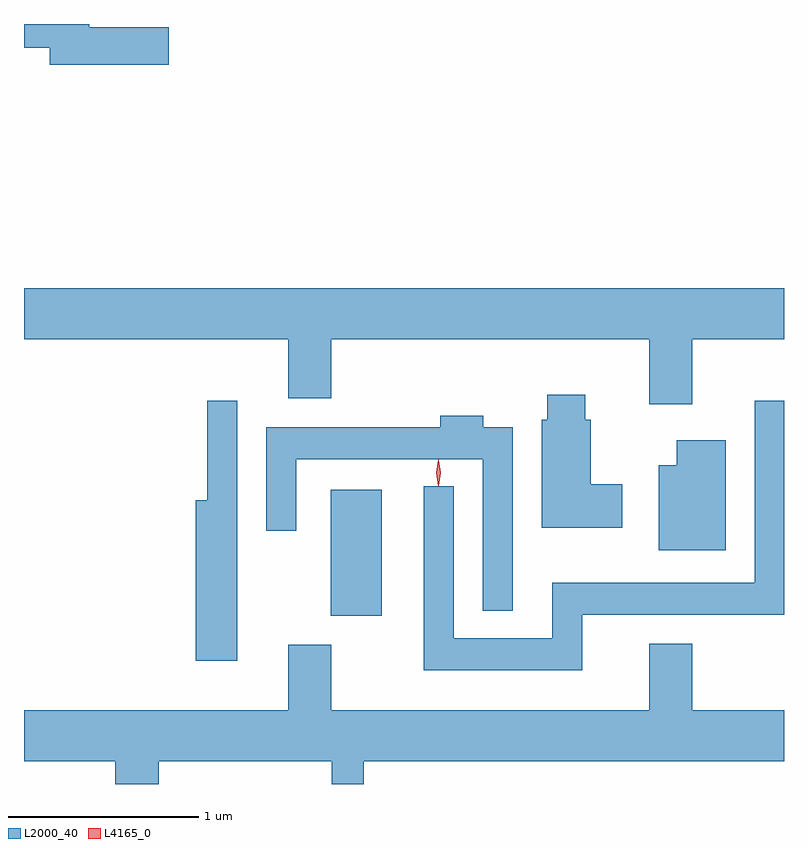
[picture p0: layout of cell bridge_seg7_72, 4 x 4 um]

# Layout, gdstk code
import gdstk
lib = gdstk.Library(unit=1e-6, precision=1e-09)
def R(c, l, rs):  # rectangles x0, y0, x1, y1
    for r in rs: c.add(gdstk.rectangle(r[:2], r[2:], *l))
def P(c, l, *ps):  # polygons
    for p in ps: c.add(gdstk.Polygon(p, *l))
L2000_40 = (2000, 40)
L4165_0 = (4165, 0)

bridge_seg7_72 = lib.new_cell('bridge_seg7_72')
R(bridge_seg7_72, L2000_40, [(1483.256,1746.161,1483.524,1746.824)])
P(bridge_seg7_72, L2000_40, [(1482.404,1749.259),(1481.984,1749.259),(1481.984,1749.276),(1481.641,1749.276),(1481.641,1749.151),(1481.776,1749.151),(1481.776,1749.061),(1482.404,1749.061)],
  [(1485.159,1747.616),(1485.641,1747.616),(1485.641,1747.884),(1481.641,1747.884),(1481.641,1747.616),(1483.031,1747.616),(1483.031,1747.306),(1483.259,1747.306),(1483.259,1747.616),(1484.931,1747.616),(1484.931,1747.276),(1485.159,1747.276)],
  [(1484.789,1746.854),(1484.624,1746.854),(1484.624,1747.194),(1484.594,1747.194),(1484.594,1747.324),(1484.396,1747.324),(1484.396,1747.194),(1484.366,1747.194),(1484.366,1746.626),(1484.789,1746.626)],
  [(1482.764,1747.293),(1482.606,1747.293),(1482.606,1746.769),(1482.546,1746.769),(1482.546,1745.926),(1482.764,1745.926)],
  [(1484.579,1746.166),(1485.641,1746.166),(1485.641,1747.293),(1485.486,1747.293),(1485.486,1746.334),(1484.421,1746.334),(1484.421,1746.044),(1483.904,1746.044),(1483.904,1746.843),(1483.746,1746.843),(1483.746,1745.876),(1484.579,1745.876)],
  [(1484.214,1747.154),(1484.059,1747.154),(1484.059,1747.214),(1483.831,1747.214),(1483.831,1747.154),(1482.916,1747.154),(1482.916,1746.608),(1483.074,1746.608),(1483.074,1746.986),(1484.056,1746.986),(1484.056,1746.188),(1484.214,1746.188)],
  [(1485.334,1747.084),(1485.076,1747.084),(1485.076,1746.954),(1484.981,1746.954),(1484.981,1746.506),(1485.334,1746.506)],
  [(1482.349,1745.396),(1483.261,1745.396),(1483.261,1745.276),(1483.429,1745.276),(1483.429,1745.396),(1485.641,1745.396),(1485.641,1745.664),(1485.159,1745.664),(1485.159,1746.014),(1484.931,1746.014),(1484.931,1745.664),(1483.259,1745.664),(1483.259,1746.009),(1483.031,1746.009),(1483.031,1745.664),(1481.641,1745.664),(1481.641,1745.396),(1482.121,1745.396),(1482.121,1745.276),(1482.349,1745.276)])
P(bridge_seg7_72, L4165_0, [(1483.822,1746.843),(1483.822,1746.844),(1483.812,1746.913),(1483.822,1746.982),(1483.822,1746.983),(1483.823,1746.982),(1483.832,1746.913),(1483.823,1746.844)],
  [(1483.824,1746.847),(1483.815,1746.914),(1483.824,1746.98),(1483.825,1746.98),(1483.825,1746.98),(1483.835,1746.914),(1483.825,1746.847),(1483.825,1746.847)])

lib.write_gds('bridge_seg7_72.gds')
